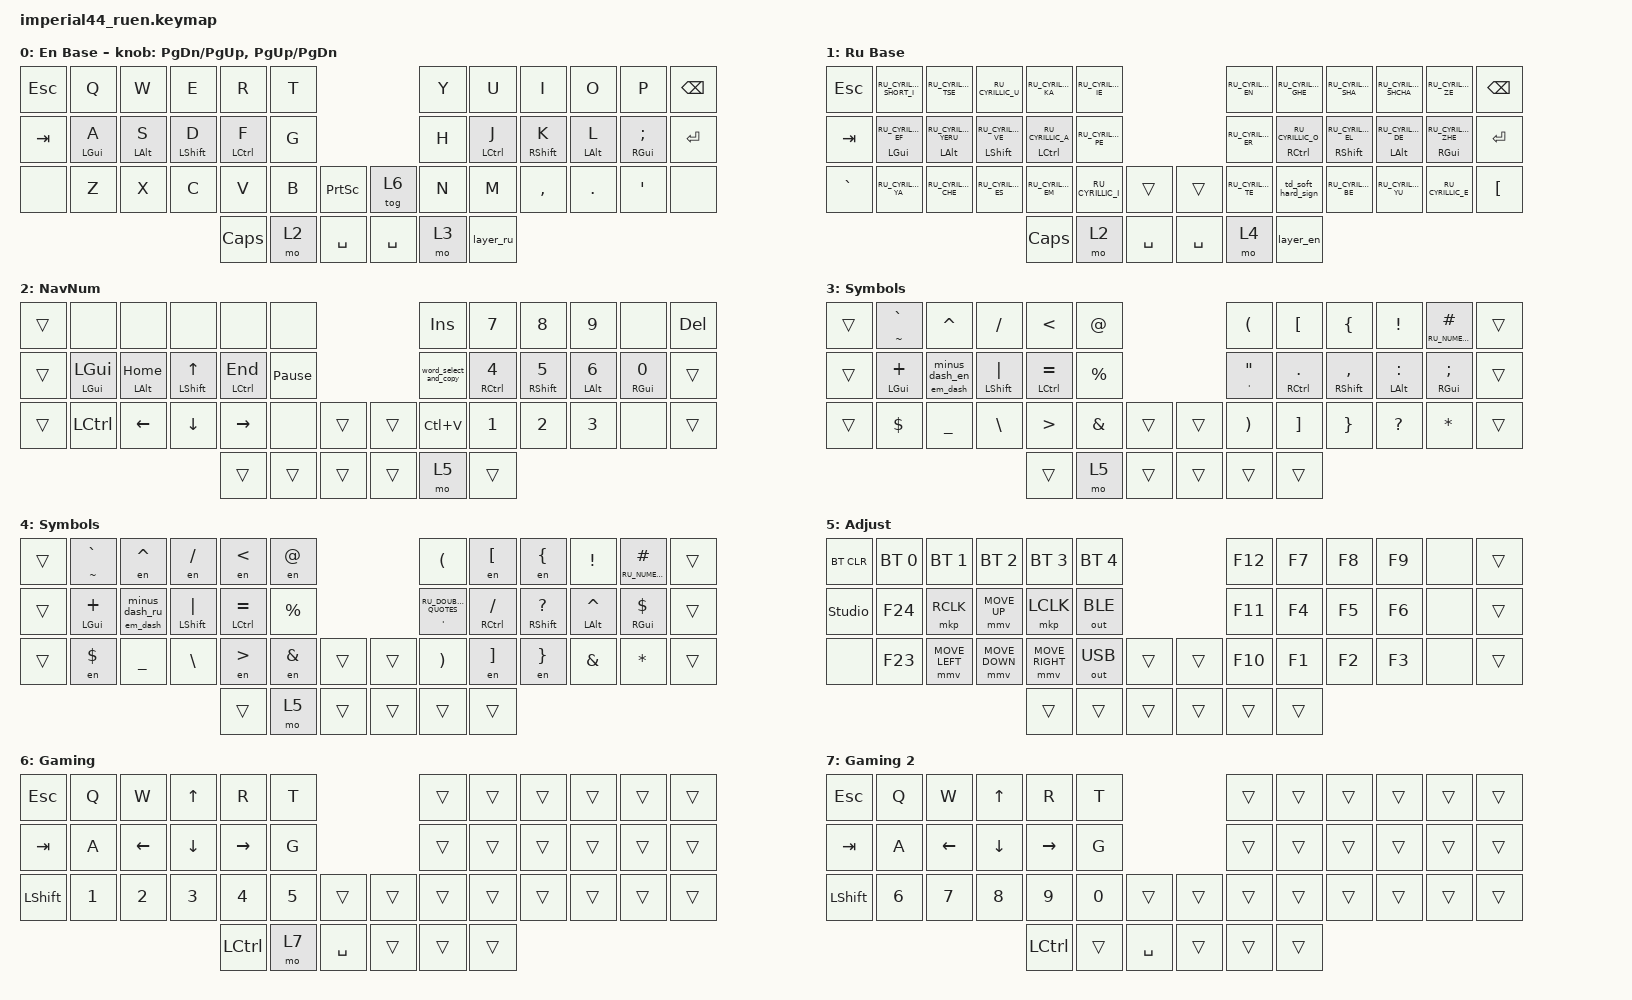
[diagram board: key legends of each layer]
#include "keys_ru.h"
#include <behaviors.dtsi>
#include <dt-bindings/zmk/bt.h>
#include <dt-bindings/zmk/keys.h>
#include <dt-bindings/zmk/outputs.h>
#include <dt-bindings/zmk/pointing.h>

/ {
    combos {
        compatible = "zmk,combos";

        cmben {
            bindings = <&layer_en>;
            key-positions = <22 41>;
            layers = <1>;
        };

        cmbru {
            bindings = <&layer_ru>;
            key-positions = <22 41>;
            layers = <0>;
        };
    };

    macros {
        to_ru: to_ru {
            compatible = "zmk,behavior-macro";
            #binding-cells = <0>;
            bindings = <&kp RC(LS(N2))>;
            label = "TO_RU";
            wait-ms = <0>;
            tap-ms = <30>;
        };

        to_en: to_en {
            compatible = "zmk,behavior-macro";
            #binding-cells = <0>;
            bindings = <&kp RC(LS(N1))>;
            label = "TO_EN";
            wait-ms = <0>;
            tap-ms = <30>;
        };

        layer_en: layer_en {
            compatible = "zmk,behavior-macro";
            #binding-cells = <0>;
            bindings = <&to 0 &to_en>;
            label = "LAYER_EN";
            wait-ms = <0>;
            tap-ms = <30>;
        };

        layer_ru: layer_ru {
            compatible = "zmk,behavior-macro";
            #binding-cells = <0>;
            bindings = <&to 1 &to_ru>;
            label = "LAYER_RU";
            tap-ms = <30>;
            wait-ms = <0>;
        };

        en: en {
            compatible = "zmk,behavior-macro-one-param";
            #binding-cells = <1>;
            bindings =
                <&to_en>,
                <&macro_press>,
                <&macro_param_1to1 &kp MACRO_PLACEHOLDER>,
                <&macro_pause_for_release>,
                <&macro_release>,
                <&macro_param_1to1 &kp MACRO_PLACEHOLDER>,
                <&macro_tap>,
                <&to_ru>;

            label = "EN";
            wait-ms = <0>;
            tap-ms = <30>;
        };

        ru: ru {
            compatible = "zmk,behavior-macro-one-param";
            #binding-cells = <1>;
            bindings =
                <&to_ru>,
                <&macro_press>,
                <&macro_param_1to1 &kp MACRO_PLACEHOLDER>,
                <&macro_pause_for_release>,
                <&macro_release>,
                <&macro_param_1to1 &kp MACRO_PLACEHOLDER>,
                <&macro_tap>,
                <&to_en>;

            label = "RU";
            wait-ms = <0>;
            tap-ms = <30>;
        };

        em_dash: em_dash {
            compatible = "zmk,behavior-macro";
            #binding-cells = <0>;
            bindings = <&kp RIGHT_ALT &kp MINUS &kp MINUS &kp MINUS>;
            label = "EM_DASH";
        };

        en_dash_en: en_dash_en {
            compatible = "zmk,behavior-macro";
            #binding-cells = <0>;
            bindings = <&kp RIGHT_ALT &kp MINUS &kp MINUS &kp DOT>;
            label = "EN_DASH_EN";
        };

        en_dash_ru: en_dash_ru {
            compatible = "zmk,behavior-macro";
            #binding-cells = <0>;
            bindings = <&kp RIGHT_ALT &kp MINUS &kp MINUS &kp RU_DOT>;
            label = "EN_DASH_RU";
        };

        word_select_and_copy: word_select_and_copy {
            compatible = "zmk,behavior-macro";
            #binding-cells = <0>;
            bindings = <&kp LC(W) &kp LC(C)>;
            label = "WORD_SELECT_AND_COPY";
        };
    };

    behaviors {
        td_left_ctrl: td_left_ctrl {
            compatible = "zmk,behavior-tap-dance";
            label = "TD_LEFT_CTRL";
            #binding-cells = <0>;
            bindings = <&kp LEFT_ARROW>, <&kp LC(LEFT)>;

            tapping-term-ms = <240>;
        };

        td_right_ctrl: td_right_ctrl {
            compatible = "zmk,behavior-tap-dance";
            label = "TD_RIGHT_CTRL";
            #binding-cells = <0>;
            bindings = <&kp RIGHT_ARROW>, <&kp LC(RIGHT_ARROW)>;

            tapping-term-ms = <240>;
        };

        hml: hml {
            compatible = "zmk,behavior-hold-tap";
            label = "HML";
            bindings = <&kp>, <&kp>;

            #binding-cells = <2>;
            tapping-term-ms = <180>;
            flavor = "balanced";
            require-prior-idle-ms = <125>;
            quick-tap-ms = <180>;
            hold-trigger-on-release;
            hold-trigger-key-positions = <6 18 32 33 19 7 6 7 8 9 10 18 19 20 21 22 32 33 34 35 36 37 23 11>;
        };

        hmr: hmr {
            compatible = "zmk,behavior-hold-tap";
            label = "HMR";
            bindings = <&kp>, <&kp>;

            #binding-cells = <2>;
            tapping-term-ms = <180>;
            flavor = "balanced";
            require-prior-idle-ms = <125>;
            quick-tap-ms = <180>;
            hold-trigger-on-release;
            hold-trigger-key-positions = <1 2 3 4 13 14 15 16 25 26 27 28 5 17 29 24 12 0>;
        };

        hml_en: hml_en {
            compatible = "zmk,behavior-hold-tap";
            label = "HML_EN";
            bindings = <&kp>, <&en>;

            #binding-cells = <2>;
            tapping-term-ms = <180>;
            flavor = "balanced";
            require-prior-idle-ms = <125>;
            quick-tap-ms = <180>;
            hold-trigger-on-release;
            hold-trigger-key-positions = <6 18 32 33 19 7 6 7 8 9 10 18 19 20 21 22 32 33 34 35 36 37 23 11>;
        };

        hmr_en: hmr_en {
            compatible = "zmk,behavior-hold-tap";
            label = "HMR_EN";
            bindings = <&kp>, <&en>;

            #binding-cells = <2>;
            tapping-term-ms = <180>;
            flavor = "balanced";
            require-prior-idle-ms = <125>;
            quick-tap-ms = <180>;
            hold-trigger-on-release;
            hold-trigger-key-positions = <2 3 4 13 14 15 16 25 26 27 28 5 17 29 24 12 1 0>;
        };

        mt_en_hold: mt_en_hold {
            compatible = "zmk,behavior-hold-tap";
            label = "MT_EN_HOLD";
            bindings = <&en>, <&kp>;

            #binding-cells = <2>;
            tapping-term-ms = <200>;
        };

        mt_ru_hold: mt_ru_hold {
            compatible = "zmk,behavior-hold-tap";
            label = "MT_RU_HOLD";
            bindings = <&ru>, <&kp>;

            #binding-cells = <2>;
            tapping-term-ms = <200>;
        };

        mt_en_tap: mt_en_tap {
            compatible = "zmk,behavior-hold-tap";
            label = "MT_EN_TAP";
            bindings = <&kp>, <&en>;

            #binding-cells = <2>;
            tapping-term-ms = <200>;
        };

        mt_en_hold_tap: mt_en_hold_tap {
            compatible = "zmk,behavior-hold-tap";
            label = "MT_EN_HOLD_TAP";
            bindings = <&en>, <&en>;

            #binding-cells = <2>;
            tapping-term-ms = <200>;
        };

        minus_dash_en: minus_dash_en {
            compatible = "zmk,behavior-tap-dance";
            label = "MINUS_DASH_EN";
            #binding-cells = <0>;
            bindings = <&kp MINUS>, <&en_dash_en>;

            tapping-term-ms = <280>;
        };

        minus_dash_ru: minus_dash_ru {
            compatible = "zmk,behavior-tap-dance";
            label = "MINUS_DASH_RU";
            #binding-cells = <0>;
            bindings = <&kp RU_MINUS>, <&en_dash_ru>;

            tapping-term-ms = <280>;
        };

        mt_dash_en: mt_dash_en {
            compatible = "zmk,behavior-hold-tap";
            label = "MT_DASH_EN";
            bindings = <&em_dash>, <&minus_dash_en>;

            #binding-cells = <2>;
            tapping-term-ms = <280>;
            flavor = "balanced";
        };

        mt_dash_ru: mt_dash_ru {
            compatible = "zmk,behavior-hold-tap";
            label = "MT_DASH_RU";
            bindings = <&em_dash>, <&minus_dash_ru>;

            #binding-cells = <2>;
            tapping-term-ms = <280>;
            flavor = "balanced";
        };

        td_soft_hard_sign: td_soft_hard_sign {
            compatible = "zmk,behavior-tap-dance";
            label = "TD_SOFT_HARD_SIGN";
            #binding-cells = <0>;
            tapping-term-ms = <200>;
            bindings = <&kp RU_CYRILLIC_SOFT_SIGN>, <&kp RU_CYRILLIC_HARD_SIGN>;
        };
    };

    keymap {
        compatible = "zmk,keymap";

        en {
            bindings = <
&kp ESC  &kp Q            &kp W            &kp E              &kp R         &kp T                                &kp Y  &kp U         &kp I               &kp O            &kp P                &kp BACKSPACE
&kp TAB  &hml LEFT_GUI A  &hml LEFT_ALT S  &hml LEFT_SHIFT D  &hml LCTRL F  &kp G                                &kp H  &hmr LCTRL J  &hmr RIGHT_SHIFT K  &hmr LEFT_ALT L  &hmr RIGHT_GUI SEMI  &kp ENTER
&none    &kp Z            &kp X            &kp C              &kp V         &kp B  &kp PRINTSCREEN    &tog 6     &kp N  &kp M         &kp COMMA           &kp DOT          &kp SQT              &none
                                                              &kp CAPSLOCK  &mo 2  &kp SPACE          &kp SPACE  &mo 3  &layer_ru
            >;

            display-name = "En Base";
            sensor-bindings =
                <&inc_dec_kp PAGE_DOWN PAGE_UP>,
                <&inc_dec_kp PG_UP PAGE_DOWN>;
        };

        ru {
            display-name = "Ru Base";
            bindings = <
&kp ESC    &kp RU_CYRILLIC_SHORT_I       &kp RU_CYRILLIC_TSE             &kp RU_CYRILLIC_U               &kp RU_CYRILLIC_KA        &kp RU_CYRILLIC_IE                          &kp RU_CYRILLIC_EN  &kp RU_CYRILLIC_GHE       &kp RU_CYRILLIC_SHA              &kp RU_CYRILLIC_SHCHA         &kp RU_CYRILLIC_ZE              &kp BACKSPACE
&kp TAB    &hml LEFT_GUI RU_CYRILLIC_EF  &hml LEFT_ALT RU_CYRILLIC_YERU  &hml LEFT_SHIFT RU_CYRILLIC_VE  &hml LCTRL RU_CYRILLIC_A  &kp RU_CYRILLIC_PE                          &kp RU_CYRILLIC_ER  &hmr RCTRL RU_CYRILLIC_O  &hmr RIGHT_SHIFT RU_CYRILLIC_EL  &hmr LEFT_ALT RU_CYRILLIC_DE  &hmr RIGHT_GUI RU_CYRILLIC_ZHE  &kp ENTER
&kp GRAVE  &kp RU_CYRILLIC_YA            &kp RU_CYRILLIC_CHE             &kp RU_CYRILLIC_ES              &kp RU_CYRILLIC_EM        &kp RU_CYRILLIC_I   &trans       &trans     &kp RU_CYRILLIC_TE  &td_soft_hard_sign        &kp RU_CYRILLIC_BE               &kp RU_CYRILLIC_YU            &kp RU_CYRILLIC_E               &kp LEFT_BRACKET
                                                                                                         &kp CLCK                  &mo 2               &kp SPACE    &kp SPACE  &mo 4               &layer_en
            >;
        };

        nav {
            bindings = <
&trans  &none                   &none               &none               &none                  &none                              &kp INS                &kp N7                       &kp N8                     &kp N9                  &none                    &kp DELETE
&trans  &hml LEFT_GUI LEFT_GUI  &hml LEFT_ALT HOME  &hml LEFT_SHIFT UP  &hml LEFT_CONTROL END  &kp PAUSE_BREAK                    &word_select_and_copy  &hmr RIGHT_CONTROL NUMBER_4  &hmr RIGHT_SHIFT NUMBER_5  &hmr LEFT_ALT NUMBER_6  &hmr RIGHT_GUI NUMBER_0  &trans
&trans  &kp LEFT_CONTROL        &kp LEFT            &kp DOWN            &kp RIGHT_ARROW        &none            &trans    &trans  &kp LC(V)              &kp N1                       &kp N2                     &kp N3                  &none                    &trans
                                                                        &trans                 &trans           &trans    &trans  &mo 5                  &trans
            >;

            display-name = "NavNum";
        };

        sym_en {
            bindings = <
&trans  &mt TILDE GRAVE     &kp CARET        &kp FSLH              &kp LESS_THAN            &kp AT_SIGN                      &kp LPAR      &kp LBKT                &kp LEFT_BRACE          &kp EXCL             &mt_ru_hold RU_NUMERO HASH  &trans
&trans  &hml LEFT_GUI PLUS  &mt_dash_en 0 0  &hml LEFT_SHIFT PIPE  &hml LEFT_CONTROL EQUAL  &kp PRCNT                        &mt APOS DQT  &hmr RIGHT_CONTROL DOT  &hmr RIGHT_SHIFT COMMA  &hmr LEFT_ALT COLON  &hmr RIGHT_GUI SEMI         &trans
&trans  &kp DOLLAR          &kp UNDERSCORE   &kp BSLH              &kp GREATER_THAN         &kp AMPERSAND  &trans    &trans  &kp RPAR      &kp RIGHT_BRACKET       &kp RIGHT_BRACE         &kp QMARK            &kp ASTRK                   &trans
                                                                   &trans                   &mo 5          &trans    &trans  &trans        &trans
            >;

            display-name = "Symbols";
        };

        sym_ru {
            display-name = "Symbols";
            bindings = <
&trans  &mt_en_hold_tap TILDE GRAVE  &en CARET        &en FSLH                 &en LESS_THAN            &en AT_SIGN                      &kp LPAR                          &en LBKT                  &en LEFT_BRACE             &kp EXCL             &mt_en_tap RU_NUMERO HASH  &trans
&trans  &hml LEFT_GUI PLUS           &mt_dash_ru 0 0  &hml_en LEFT_SHIFT PIPE  &hml LEFT_CONTROL EQUAL  &kp PRCNT                        &mt_en_hold SQT RU_DOUBLE_QUOTES  &hmr RIGHT_CONTROL SLASH  &hmr RIGHT_SHIFT QUESTION  &hmr LEFT_ALT CARET  &hmr RIGHT_GUI DOLLAR      &trans
&trans  &en DOLLAR                   &kp UNDERSCORE   &kp BSLH                 &en GREATER_THAN         &en AMPERSAND  &trans    &trans  &kp RPAR                          &en RIGHT_BRACKET         &en RIGHT_BRACE            &kp AMPERSAND        &kp ASTRK                  &trans
                                                                               &trans                   &mo 5          &trans    &trans  &trans                            &trans
            >;
        };

        adj {
            bindings = <
&bt BT_CLR      &bt BT_SEL 0  &bt BT_SEL 1    &bt BT_SEL 2    &bt BT_SEL 3     &bt BT_SEL 4                    &kp F12  &kp F7  &kp F8  &kp F9  &none  &trans
&studio_unlock  &kp F24       &mkp RCLK       &mmv MOVE_UP    &mkp LCLK        &out OUT_BLE                    &kp F11  &kp F4  &kp F5  &kp F6  &none  &trans
&none           &kp F23       &mmv MOVE_LEFT  &mmv MOVE_DOWN  &mmv MOVE_RIGHT  &out OUT_USB  &trans    &trans  &kp F10  &kp F1  &kp F2  &kp F3  &none  &trans
                                                              &trans           &trans        &trans    &trans  &trans   &trans
            >;

            display-name = "Adjust";
        };

        game_base {
            bindings = <
&kp ESC    &kp Q   &kp W     &kp UP    &kp R      &kp T                        &trans  &trans  &trans  &trans  &trans  &trans
&kp TAB    &kp A   &kp LEFT  &kp DOWN  &kp RIGHT  &kp G                        &trans  &trans  &trans  &trans  &trans  &trans
&kp LSHFT  &kp N1  &kp N2    &kp N3    &kp N4     &kp N5  &trans       &trans  &trans  &trans  &trans  &trans  &trans  &trans
                                       &kp LCTRL  &mo 7   &kp SPACE    &trans  &trans  &trans
            >;

            label = "Gaming";
        };

        game_adj {
            bindings = <
&kp ESC    &kp Q   &kp W     &kp UP    &kp R      &kp T                        &trans  &trans  &trans  &trans  &trans  &trans
&kp TAB    &kp A   &kp LEFT  &kp DOWN  &kp RIGHT  &kp G                        &trans  &trans  &trans  &trans  &trans  &trans
&kp LSHFT  &kp N6  &kp N7    &kp N8    &kp N9     &kp N0  &trans       &trans  &trans  &trans  &trans  &trans  &trans  &trans
                                       &kp LCTRL  &trans  &kp SPACE    &trans  &trans  &trans
            >;

            label = "Gaming 2";
        };
    };
};
